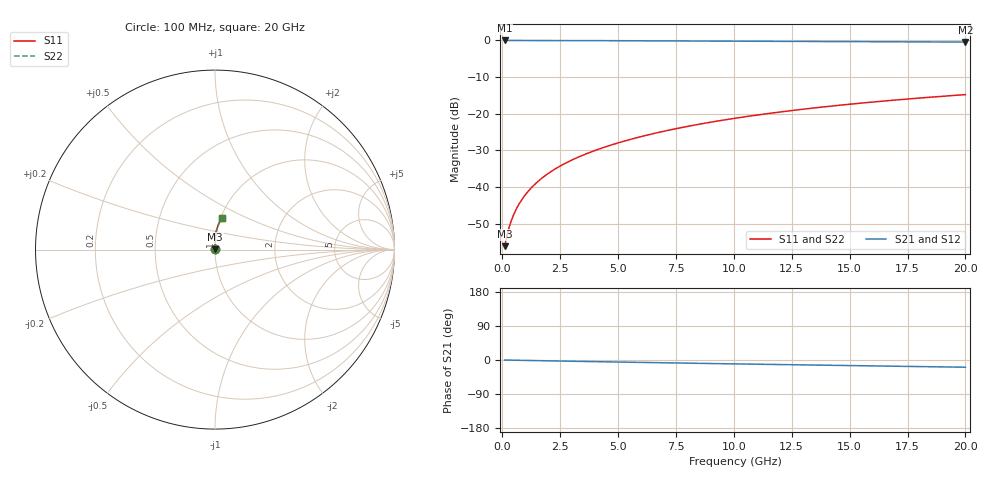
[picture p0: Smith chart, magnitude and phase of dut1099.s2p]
! Touchstone file exported from HFSS 2024.1.0
!  File:  C:/UserFiles/LocalFiles/RDL_TSV_Batchsim/temp_RDL_bottom_1099_1780053895.aedt
!  Generated:  07:27:26 PM May 29, 2026
!  Design:  RDL_bottom
!  Project:  temp_RDL_bottom_1099_1780053895
!  Setup:  Setup1
!  Solution:  Sweep
! Variables:
!  dtsv = 10.80580581um
!  hbump = 3um
!  htsv = 98.9um
!  ldown = 262.53um
!  lrdl = 100um
!  p = 40
!  p1 = 45.09um
!  rhole = 1um
!  t = 450um
!  tdown = 3.66um
!  trdl = 3.915915916um
!  wdown = 23.62um
!  wrdl = 20um
# GHz S MA R 50.000000
! Terminal data exported
! Port[1] = RDL1_T1
! Port[2] = RDL1_T2
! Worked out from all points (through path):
!   200 points, 100 MHz to 20 GHz, reference 50 ohm
!   highest |S21| = -0.01 dB at 100 MHz (marker M1); lowest = -0.4 dB at 20 GHz (marker M2)
!   group delay of S21, straight-line fit = 2.62 ps
!   lowest |S11| = -56.1 dB at 100 MHz (marker M3), VSWR 1.00, Z = 50.1 + j0.0869 ohm
!   |S11| at or under -10 dB: start of sweep to end of sweep
!   |S22| runs from -56.1 to -14.8 dB; largest |S21 - S12| = 4.3e-15
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0.1  0.00156 33.7  0.9987 -0.1  0.9987 -0.1  0.00156 33.7
! Gamma 0 0 0 0
! Port Impedance 50 0 50 0
0.2  0.002174 51.1  0.9986 -0.2  0.9986 -0.2  0.002174 51.1
0.3  0.00286 59.9  0.9985 -0.3  0.9985 -0.3  0.00286 59.9
0.4  0.003558 65.3  0.9984 -0.5  0.9984 -0.5  0.003559 65.3
0.5  0.004262 69.1  0.9984 -0.6  0.9984 -0.6  0.004262 69.1
0.6  0.004972 72.0  0.9983 -0.7  0.9983 -0.7  0.004972 72.0
0.8  0.006412 76.0  0.9981 -0.9  0.9981 -0.9  0.006412 76.0
1.1  0.008617 79.8  0.9979 -1.2  0.9979 -1.2  0.008617 79.8
1.3  0.01011 81.5  0.9977 -1.4  0.9977 -1.4  0.01011 81.5
1.6  0.01238 83.3  0.9974 -1.8  0.9974 -1.8  0.01238 83.3
2.1  0.01621 85.4  0.9968 -2.3  0.9968 -2.3  0.01621 85.4
2.7  0.02092 86.9  0.9958 -3.0  0.9958 -3.0  0.02092 86.9
3.5  0.02736 88.2  0.9943 -3.8  0.9943 -3.8  0.02736 88.2
4.2  0.03317 88.9  0.9927 -4.6  0.9927 -4.6  0.03317 88.9
5  0.04 89.3  0.9907 -5.4  0.9907 -5.4  0.04 89.3
6.8  0.05605 89.3  0.9857 -7.2  0.9857 -7.2  0.05605 89.3
8.4  0.07095 88.6  0.9811 -8.7  0.9811 -8.7  0.07095 88.6
10.1  0.08721 87.4  0.9762 -10.3  0.9762 -10.3  0.08721 87.4
11.7  0.1027 86.1  0.9718 -11.8  0.9718 -11.8  0.1027 86.1
13.4  0.1193 84.4  0.9671 -13.3  0.9671 -13.3  0.1193 84.4
16.7  0.1511 81.1  0.9583 -16.2  0.9583 -16.2  0.1511 81.1
20  0.1822 77.7  0.9496 -19.1  0.9496 -19.1  0.1822 77.7
